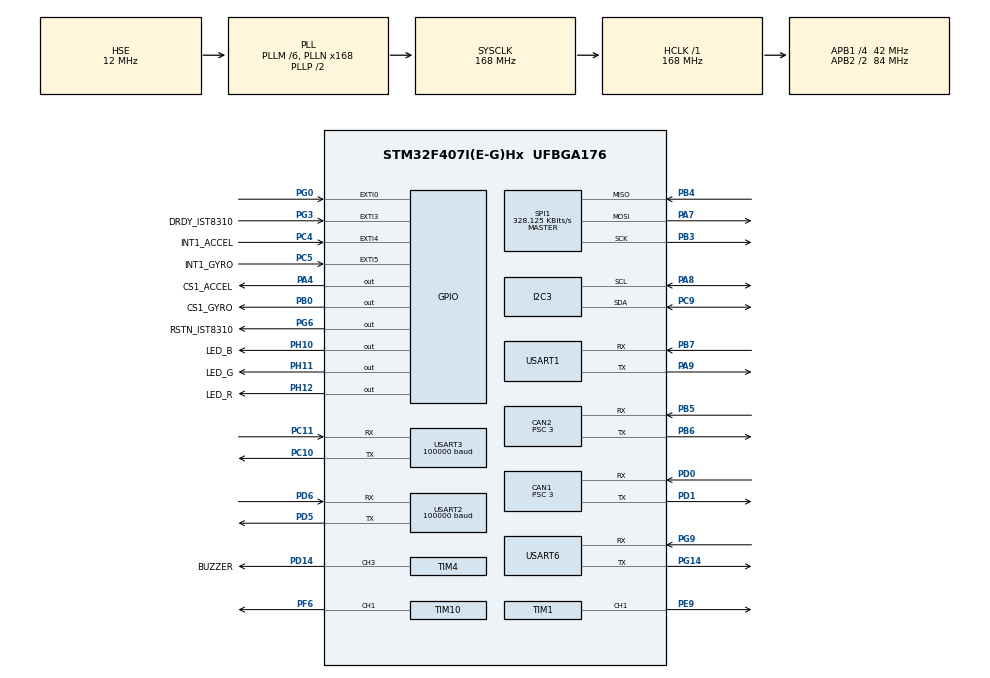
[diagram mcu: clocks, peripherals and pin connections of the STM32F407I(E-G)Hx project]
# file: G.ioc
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CAN1.BS1=CAN_BS1_10TQ
CAN1.BS2=CAN_BS2_3TQ
CAN1.CalculateBaudRate=1000000
CAN1.CalculateTimeBit=1000
CAN1.CalculateTimeQuantum=71.42857142857143
CAN1.Prescaler=3
CAN2.BS1=CAN_BS1_10TQ
CAN2.BS2=CAN_BS2_3TQ
CAN2.CalculateBaudRate=1000000
CAN2.CalculateTimeBit=1000
CAN2.CalculateTimeQuantum=71.42857142857143
CAN2.Prescaler=3
Dma.Request0=USART2_RX
Dma.Request1=USART2_TX
Dma.Request2=USART1_TX
Dma.Request3=SPI1_RX
Dma.Request4=SPI1_TX
Dma.Request5=USART3_RX
Dma.Request6=USART6_RX
Dma.SPI1_RX.3.Direction=DMA_PERIPH_TO_MEMORY
Dma.SPI1_RX.3.FIFOMode=DMA_FIFOMODE_DISABLE
Dma.SPI1_RX.3.Instance=DMA2_Stream2
Dma.SPI1_RX.3.MemDataAlignment=DMA_MDATAALIGN_BYTE
Dma.SPI1_RX.3.MemInc=DMA_MINC_ENABLE
Dma.SPI1_RX.3.Mode=DMA_NORMAL
Dma.SPI1_RX.3.PeriphDataAlignment=DMA_PDATAALIGN_BYTE
Dma.SPI1_RX.3.PeriphInc=DMA_PINC_DISABLE
Dma.SPI1_RX.3.Priority=DMA_PRIORITY_VERY_HIGH
Dma.SPI1_TX.4.Direction=DMA_MEMORY_TO_PERIPH
Dma.SPI1_TX.4.FIFOMode=DMA_FIFOMODE_DISABLE
Dma.SPI1_TX.4.Instance=DMA2_Stream3
Dma.SPI1_TX.4.MemDataAlignment=DMA_MDATAALIGN_BYTE
Dma.SPI1_TX.4.MemInc=DMA_MINC_ENABLE
Dma.SPI1_TX.4.Mode=DMA_NORMAL
Dma.SPI1_TX.4.PeriphDataAlignment=DMA_PDATAALIGN_BYTE
Dma.SPI1_TX.4.PeriphInc=DMA_PINC_DISABLE
Dma.SPI1_TX.4.Priority=DMA_PRIORITY_HIGH
Dma.USART1_TX.2.Direction=DMA_MEMORY_TO_PERIPH
Dma.USART1_TX.2.FIFOMode=DMA_FIFOMODE_DISABLE
Dma.USART1_TX.2.Instance=DMA2_Stream7
Dma.USART1_TX.2.MemDataAlignment=DMA_MDATAALIGN_BYTE
Dma.USART1_TX.2.MemInc=DMA_MINC_ENABLE
Dma.USART1_TX.2.Mode=DMA_NORMAL
Dma.USART1_TX.2.PeriphDataAlignment=DMA_PDATAALIGN_BYTE
Dma.USART1_TX.2.PeriphInc=DMA_PINC_DISABLE
Dma.USART1_TX.2.Priority=DMA_PRIORITY_LOW
Dma.USART2_RX.0.Direction=DMA_PERIPH_TO_MEMORY
Dma.USART2_RX.0.FIFOMode=DMA_FIFOMODE_DISABLE
Dma.USART2_RX.0.Instance=DMA1_Stream5
Dma.USART2_RX.0.MemDataAlignment=DMA_MDATAALIGN_BYTE
Dma.USART2_RX.0.MemInc=DMA_MINC_ENABLE
Dma.USART2_RX.0.Mode=DMA_NORMAL
Dma.USART2_RX.0.PeriphDataAlignment=DMA_PDATAALIGN_BYTE
Dma.USART2_RX.0.PeriphInc=DMA_PINC_DISABLE
Dma.USART2_RX.0.Priority=DMA_PRIORITY_LOW
Dma.USART2_TX.1.Direction=DMA_MEMORY_TO_PERIPH
Dma.USART2_TX.1.FIFOMode=DMA_FIFOMODE_DISABLE
Dma.USART2_TX.1.Instance=DMA1_Stream6
Dma.USART2_TX.1.MemDataAlignment=DMA_MDATAALIGN_BYTE
Dma.USART2_TX.1.MemInc=DMA_MINC_ENABLE
Dma.USART2_TX.1.Mode=DMA_NORMAL
Dma.USART2_TX.1.PeriphDataAlignment=DMA_PDATAALIGN_BYTE
Dma.USART2_TX.1.PeriphInc=DMA_PINC_DISABLE
Dma.USART2_TX.1.Priority=DMA_PRIORITY_LOW
Dma.USART3_RX.5.Direction=DMA_PERIPH_TO_MEMORY
Dma.USART3_RX.5.FIFOMode=DMA_FIFOMODE_DISABLE
Dma.USART3_RX.5.Instance=DMA1_Stream1
Dma.USART3_RX.5.MemDataAlignment=DMA_MDATAALIGN_BYTE
Dma.USART3_RX.5.MemInc=DMA_MINC_ENABLE
Dma.USART3_RX.5.Mode=DMA_NORMAL
Dma.USART3_RX.5.PeriphDataAlignment=DMA_PDATAALIGN_BYTE
Dma.USART3_RX.5.PeriphInc=DMA_PINC_DISABLE
Dma.USART3_RX.5.Priority=DMA_PRIORITY_LOW
Dma.USART6_RX.6.Direction=DMA_PERIPH_TO_MEMORY
Dma.USART6_RX.6.FIFOMode=DMA_FIFOMODE_DISABLE
Dma.USART6_RX.6.Instance=DMA2_Stream1
Dma.USART6_RX.6.MemDataAlignment=DMA_MDATAALIGN_BYTE
Dma.USART6_RX.6.MemInc=DMA_MINC_ENABLE
Dma.USART6_RX.6.Mode=DMA_NORMAL
Dma.USART6_RX.6.PeriphDataAlignment=DMA_PDATAALIGN_BYTE
Dma.USART6_RX.6.PeriphInc=DMA_PINC_DISABLE
Dma.USART6_RX.6.Priority=DMA_PRIORITY_HIGH
FREERTOS.INCLUDE_eTaskGetState=1
FREERTOS.INCLUDE_pcTaskGetTaskName=1
FREERTOS.INCLUDE_uxTaskGetStackHighWaterMark=1
FREERTOS.INCLUDE_uxTaskGetStackHighWaterMark2=1
FREERTOS.INCLUDE_vTaskCleanUpResources=1
FREERTOS.INCLUDE_vTaskDelayUntil=1
FREERTOS.INCLUDE_xEventGroupSetBitFromISR=1
FREERTOS.INCLUDE_xQueueGetMutexHolder=1
FREERTOS.INCLUDE_xSemaphoreGetMutexHolder=1
FREERTOS.INCLUDE_xTaskAbortDelay=1
FREERTOS.INCLUDE_xTaskGetCurrentTaskHandle=1
FREERTOS.INCLUDE_xTaskGetHandle=1
FREERTOS.INCLUDE_xTimerPendFunctionCall=1
FREERTOS.Tasks01=Task_Chassis,0,1024,Start_Task_Chassis,Default,NULL,Dynamic,NULL,NULL;Task_Gimbal,-3,1024,Start_Task_Gimbal,Default,NULL,Dynamic,NULL,NULL;Task_Debug,-3,512,Start_Task_Debug,Default,NULL,Dynamic,NULL,NULL;Task_AHRS,-3,1024,Start_Task_AHRS,Default,NULL,Dynamic,NULL,NULL;Task_IWDG,-3,256,Start_Task_IWDG,Default,NULL,Dynamic,NULL,NULL;myTask06,-3,128,StartTask06,Default,NULL,Dynamic,NULL,NULL;Task_Ammo_Shoot,-3,512,Start_Task_Ammo_Shoot,Default,NULL,Dynamic,NULL,NULL;Task_Ammo_Fire,-3,512,Start_Task_Ammo_Fire,Default,NULL,Dynamic,NULL,NULL;Task_Mini_PC,-3,256,Start_Task__Mini_PC,Default,NULL,Dynamic,NULL,NULL
FREERTOS.configTOTAL_HEAP_SIZE=24576
FREERTOS.configUSE_TIMERS=1
I2C3.I2C_Mode=I2C_Fast
Mcu.Family=STM32F4
Mcu.Name=STM32F407I(E-G)Hx
Mcu.Package=UFBGA176
NVIC.CAN1_RX0_IRQn=true\:5\:0\:false\:false\:true\:true\:true\:true\:true
NVIC.CAN2_RX0_IRQn=true\:5\:0\:false\:false\:true\:true\:true\:true\:true
NVIC.DMA1_Stream1_IRQn=true\:5\:0\:false\:false\:true\:true\:false\:true\:true
NVIC.DMA1_Stream5_IRQn=true\:5\:0\:false\:false\:true\:true\:false\:true\:true
NVIC.DMA1_Stream6_IRQn=true\:5\:0\:false\:false\:true\:true\:false\:true\:true
NVIC.DMA2_Stream1_IRQn=true\:5\:0\:false\:false\:true\:true\:false\:true\:true
NVIC.DMA2_Stream2_IRQn=true\:5\:0\:false\:false\:false\:true\:false\:true\:true
NVIC.DMA2_Stream3_IRQn=true\:5\:0\:false\:false\:true\:true\:false\:true\:true
NVIC.DMA2_Stream7_IRQn=true\:5\:0\:false\:false\:true\:true\:false\:true\:true
NVIC.EXTI0_IRQn=true\:5\:0\:false\:false\:true\:true\:true\:true\:true
NVIC.EXTI3_IRQn=true\:5\:0\:false\:false\:true\:true\:true\:true\:true
NVIC.EXTI4_IRQn=true\:5\:0\:false\:false\:true\:true\:true\:true\:true
NVIC.EXTI9_5_IRQn=true\:5\:0\:false\:false\:true\:true\:true\:true\:true
NVIC.PriorityGroup=NVIC_PRIORITYGROUP_4
NVIC.USART2_IRQn=true\:5\:0\:false\:false\:true\:true\:true\:true\:true
NVIC.USART3_IRQn=true\:5\:0\:false\:false\:false\:true\:true\:true\:true
NVIC.USART6_IRQn=true\:5\:0\:false\:false\:true\:true\:true\:true\:true
PA13.Mode=Serial_Wire
PA13.Signal=SYS_JTMS-SWDIO
PA14.Mode=Serial_Wire
PA14.Signal=SYS_JTCK-SWCLK
PA4.GPIO_Label=CS1_ACCEL
PA4.GPIO_PuPd=GPIO_PULLUP
PA4.GPIO_Speed=GPIO_SPEED_FREQ_HIGH
PA4.PinState=GPIO_PIN_SET
PA4.Signal=GPIO_Output
PA7.Mode=Full_Duplex_Master
PA7.Signal=SPI1_MOSI
PA8.Mode=I2C
PA8.Signal=I2C3_SCL
PA9.Mode=Asynchronous
PA9.Signal=USART1_TX
PB0.GPIO_Label=CS1_GYRO
PB0.GPIO_PuPd=GPIO_PULLUP
PB0.GPIO_Speed=GPIO_SPEED_FREQ_HIGH
PB0.PinState=GPIO_PIN_SET
PB0.Signal=GPIO_Output
PB3.Mode=Full_Duplex_Master
PB3.Signal=SPI1_SCK
PB4.Mode=Full_Duplex_Master
PB4.Signal=SPI1_MISO
PB5.Mode=CAN_Activate
PB5.Signal=CAN2_RX
PB6.Mode=CAN_Activate
PB6.Signal=CAN2_TX
PB7.Mode=Asynchronous
PB7.Signal=USART1_RX
PC10.Mode=Asynchronous
PC10.Signal=USART3_TX
PC11.Mode=Asynchronous
PC11.Signal=USART3_RX
PC4.GPIO_Label=INT1_ACCEL
PC4.GPIO_PuPd=GPIO_PULLUP
PC4.Signal=GPXTI4
PC5.GPIO_Label=INT1_GYRO
PC5.GPIO_PuPd=GPIO_PULLUP
PC5.Signal=GPXTI5
PC9.Mode=I2C
PC9.Signal=I2C3_SDA
PD0.Mode=CAN_Activate
PD0.Signal=CAN1_RX
PD1.Mode=CAN_Activate
PD1.Signal=CAN1_TX
PD14.GPIO_Label=BUZZER
PD14.GPIO_PuPd=GPIO_PULLUP
PD14.GPIO_Speed=GPIO_SPEED_FREQ_VERY_HIGH
PD14.Signal=S_TIM4_CH3
PD5.Mode=Asynchronous
PD5.Signal=USART2_TX
PD6.Mode=Asynchronous
PD6.Signal=USART2_RX
PE9.Signal=S_TIM1_CH1
PF6.GPIO_PuPd=GPIO_PULLUP
PF6.GPIO_Speed=GPIO_SPEED_FREQ_HIGH
PF6.Signal=S_TIM10_CH1
PG0.GPIO_PuPd=GPIO_PULLUP
PG0.Signal=GPXTI0
PG14.Mode=Asynchronous
PG14.Signal=USART6_TX
PG3.GPIO_Label=DRDY_IST8310
PG3.GPIO_PuPd=GPIO_PULLUP
PG3.Signal=GPXTI3
PG6.GPIO_Label=RSTN_IST8310
PG6.GPIO_PuPd=GPIO_PULLUP
PG6.GPIO_Speed=GPIO_SPEED_FREQ_MEDIUM
PG6.PinState=GPIO_PIN_SET
PG6.Signal=GPIO_Output
PG9.Mode=Asynchronous
PG9.Signal=USART6_RX
PH0-OSC_IN.Mode=HSE-External-Oscillator
PH0-OSC_IN.Signal=RCC_OSC_IN
PH1-OSC_OUT.Mode=HSE-External-Oscillator
PH1-OSC_OUT.Signal=RCC_OSC_OUT
PH10.GPIO_Label=LED_B
PH10.GPIO_PuPd=GPIO_PULLUP
PH10.PinState=GPIO_PIN_SET
PH10.Signal=GPIO_Output
PH11.GPIO_Label=LED_G
PH11.GPIO_PuPd=GPIO_PULLUP
PH11.PinState=GPIO_PIN_SET
PH11.Signal=GPIO_Output
PH12.GPIO_Label=LED_R
PH12.GPIO_PuPd=GPIO_PULLUP
PH12.PinState=GPIO_PIN_SET
PH12.Signal=GPIO_Output
ProjectManager.HeapSize=0x200
ProjectManager.StackSize=0x400
ProjectManager.TargetToolchain=MDK-ARM V5.32
RCC.48MHZClocksFreq_Value=48000000
RCC.AHBFreq_Value=168000000
RCC.APB1CLKDivider=RCC_HCLK_DIV4
RCC.APB1Freq_Value=42000000
RCC.APB1TimFreq_Value=84000000
RCC.APB2CLKDivider=RCC_HCLK_DIV2
RCC.APB2Freq_Value=84000000
RCC.APB2TimFreq_Value=168000000
RCC.CortexFreq_Value=168000000
RCC.HCLKFreq_Value=168000000
RCC.HSE_VALUE=12000000
RCC.HSI_VALUE=16000000
RCC.LSE_VALUE=32768
RCC.PLLM=6
RCC.PLLN=168
RCC.PLLQ=7
RCC.PLLSourceVirtual=RCC_PLLSOURCE_HSE
RCC.SYSCLKFreq_VALUE=168000000
RCC.SYSCLKSource=RCC_SYSCLKSOURCE_PLLCLK
RCC.VCOOutputFreq_Value=336000000
SH.S_TIM10_CH1.0=TIM10_CH1,PWM Generation1 CH1
SH.S_TIM1_CH1.0=TIM1_CH1,PWM Generation1 CH1
SH.S_TIM4_CH3.0=TIM4_CH3,PWM Generation3 CH3
SPI1.BaudRatePrescaler=SPI_BAUDRATEPRESCALER_256
SPI1.CLKPhase=SPI_PHASE_2EDGE
SPI1.CLKPolarity=SPI_POLARITY_HIGH
SPI1.CalculateBaudRate=328.125 KBits/s
SPI1.Direction=SPI_DIRECTION_2LINES
SPI1.Mode=SPI_MODE_MASTER
SPI1.VirtualType=VM_MASTER
TIM1.Channel-PWM\ Generation1\ CH1=TIM_CHANNEL_1
TIM1.Period=20000-1
TIM1.Prescaler=168-1
TIM1.Pulse-PWM\ Generation1\ CH1=1350
TIM10.Channel=TIM_CHANNEL_1
TIM10.Period=4999
TIM4.Channel-PWM\ Generation3\ CH3=TIM_CHANNEL_3
TIM4.Prescaler=167
USART1.VirtualMode=VM_ASYNC
USART2.BaudRate=100000
USART2.Parity=PARITY_NONE
USART2.VirtualMode=VM_ASYNC
USART3.BaudRate=100000
USART3.VirtualMode=VM_ASYNC
USART6.VirtualMode=VM_ASYNC
VP_FREERTOS_VS_CMSIS_V1.Mode=CMSIS_V1
VP_RNG_VS_RNG.Mode=RNG_Activate
VP_TIM10_VS_ClockSourceINT.Mode=Enable_Timer
board=custom

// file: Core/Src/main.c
/* USER CODE BEGIN Header */
/**
  ******************************************************************************
  * @file           : main.c
  * @brief          : Main program body
  ******************************************************************************
  * @attention
  *
  * <h2><center>&copy; Copyright (c) 2022 STMicroelectronics.
  * All rights reserved.</center></h2>
  *
  * This software component is licensed by ST under Ultimate Liberty license
  * SLA0044, the "License"; You may not use this file except in compliance with
  * the License. You may obtain a copy of the License at:
  *                             www.st.com/SLA0044
  *
  ******************************************************************************
  */
/* USER CODE END Header */
#include "main.h"
#include "cmsis_os.h"
#include "can.h"
#include "dma.h"
#include "i2c.h"
#include "rng.h"
#include "spi.h"
#include "tim.h"
#include "usart.h"
#include "gpio.h"

/* USER CODE BEGIN Includes */
#include "User_Dbus.h"
#include "User_Can.h"
#include "User_Time.h"
#include "User_Delay.h"
#include "User_Dbus_Control.h"

#include "AHRS_Task.h"
#include "Calibrate_Task.h"
#include "PC_Link.h"
/* USER CODE END Includes */

void SystemClock_Config(void);
void MX_FREERTOS_Init(void);

int main(void)
{
  /* USER CODE BEGIN 1 */

//	usart_printf("1\r\n");
  /* USER CODE END 1 */

  /* MCU Configuration--------------------------------------------------------*/

  /* Reset of all peripherals, Initializes the Flash interface and the Systick. */
  HAL_Init();

  /* Configure the system clock */
  SystemClock_Config();

  /* Initialize all configured peripherals */
  MX_GPIO_Init();
  MX_DMA_Init();
  MX_CAN1_Init();
  MX_CAN2_Init();
  MX_USART2_UART_Init();
  MX_TIM1_Init();
  MX_TIM4_Init();
  MX_TIM10_Init();
  MX_USART1_UART_Init();
  MX_SPI1_Init();
  MX_I2C3_Init();
  MX_USART3_UART_Init();
  MX_USART6_UART_Init();
  MX_RNG_Init();
  /* USER CODE BEGIN 2 */
  All_Time_Init();
	Delay_Init();
	Remote_Control_Init();
	CAN_Filter_Init();
	Dbus_Control_Init();
	PC_Link_Init();
  /* USER CODE END 2 */

  /* Call init function for freertos objects (in freertos.c) */
  MX_FREERTOS_Init();

  /* Start scheduler */
  osKernelStart();

  /* We should never get here as control is now taken by the scheduler */
  /* Infinite loop */
  while (1)
  {

  }
}

void SystemClock_Config(void)
{
  RCC_OscInitTypeDef RCC_OscInitStruct = {0};
  RCC_ClkInitTypeDef RCC_ClkInitStruct = {0};

  /** Configure the main internal regulator output voltage
  */
  __HAL_RCC_PWR_CLK_ENABLE();
  __HAL_PWR_VOLTAGESCALING_CONFIG(PWR_REGULATOR_VOLTAGE_SCALE1);

  /** Initializes the RCC Oscillators according to the specified parameters
  * in the RCC_OscInitTypeDef structure.
  */
  RCC_OscInitStruct.OscillatorType = RCC_OSCILLATORTYPE_HSE;
  RCC_OscInitStruct.HSEState = RCC_HSE_ON;
  RCC_OscInitStruct.PLL.PLLState = RCC_PLL_ON;
  RCC_OscInitStruct.PLL.PLLSource = RCC_PLLSOURCE_HSE;
  RCC_OscInitStruct.PLL.PLLM = 6;
  RCC_OscInitStruct.PLL.PLLN = 168;
  RCC_OscInitStruct.PLL.PLLP = RCC_PLLP_DIV2;
  RCC_OscInitStruct.PLL.PLLQ = 7;
  if (HAL_RCC_OscConfig(&RCC_OscInitStruct) != HAL_OK)
  {
    Error_Handler();
  }

  /** Initializes the CPU, AHB and APB buses clocks
  */
  RCC_ClkInitStruct.ClockType = RCC_CLOCKTYPE_HCLK|RCC_CLOCKTYPE_SYSCLK
                              |RCC_CLOCKTYPE_PCLK1|RCC_CLOCKTYPE_PCLK2;
  RCC_ClkInitStruct.SYSCLKSource = RCC_SYSCLKSOURCE_PLLCLK;
  RCC_ClkInitStruct.AHBCLKDivider = RCC_SYSCLK_DIV1;
  RCC_ClkInitStruct.APB1CLKDivider = RCC_HCLK_DIV4;
  RCC_ClkInitStruct.APB2CLKDivider = RCC_HCLK_DIV2;

  if (HAL_RCC_ClockConfig(&RCC_ClkInitStruct, FLASH_LATENCY_5) != HAL_OK)
  {
    Error_Handler();
  }
}

void Error_Handler(void)
{
  __disable_irq();
  while (1)
  {
  }
}

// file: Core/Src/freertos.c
/* USER CODE BEGIN Header */
/**
  ******************************************************************************
  * File Name          : freertos.c
  * Description        : Code for freertos applications
  ******************************************************************************
  * @attention
  *
  * <h2><center>&copy; Copyright (c) 2022 STMicroelectronics.
  * All rights reserved.</center></h2>
  *
  * This software component is licensed by ST under Ultimate Liberty license
  * SLA0044, the "License"; You may not use this file except in compliance with
  * the License. You may obtain a copy of the License at:
  *                             www.st.com/SLA0044
  *
  ******************************************************************************
  */
/* USER CODE END Header */

#include "FreeRTOS.h"
#include "task.h"
#include "main.h"
#include "cmsis_os.h"

/* USER CODE BEGIN Includes */
#include "rng.h"

#include "AHRS_Task.h"
#include "Calibrate_Task.h"

#include "User_Debug.h"
#include "User_Dbus.h"
#include "User_led.h"
#include "Gimbal.h"
#include "Chassis.h"

#include "PC_Link.h"

#include "Shoot.h"
#include "Fire.h"
//#include "Chassis.h"

/* USER CODE END Includes */

osThreadId Task_ChassisHandle;
osThreadId Task_GimbalHandle;
osThreadId Task_DebugHandle;
osThreadId Task_AHRSHandle;
osThreadId Task_IWDGHandle;
osThreadId myTask06Handle;
osThreadId Task_Ammo_ShootHandle;
osThreadId Task_Ammo_FireHandle;
osThreadId Task_Mini_PCHandle;

void Start_Task_Chassis(void const * argument);
void Start_Task_Gimbal(void const * argument);
void Start_Task_Debug(void const * argument);
void Start_Task_AHRS(void const * argument);
void Start_Task_IWDG(void const * argument);
void StartTask06(void const * argument);
void Start_Task_Ammo_Shoot(void const * argument);
void Start_Task_Ammo_Fire(void const * argument);
void Start_Task__Mini_PC(void const * argument);

void MX_FREERTOS_Init(void); /* (MISRA C 2004 rule 8.1) */

/* GetIdleTaskMemory prototype (linked to static allocation support) */
void vApplicationGetIdleTaskMemory( StaticTask_t **ppxIdleTaskTCBBuffer, StackType_t **ppxIdleTaskStackBuffer, uint32_t *pulIdleTaskStackSize );

/* GetTimerTaskMemory prototype (linked to static allocation support) */
void vApplicationGetTimerTaskMemory( StaticTask_t **ppxTimerTaskTCBBuffer, StackType_t **ppxTimerTaskStackBuffer, uint32_t *pulTimerTaskStackSize );

/* USER CODE BEGIN GET_IDLE_TASK_MEMORY */
static StaticTask_t xIdleTaskTCBBuffer;
static StackType_t xIdleStack[configMINIMAL_STACK_SIZE];

void vApplicationGetIdleTaskMemory( StaticTask_t **ppxIdleTaskTCBBuffer, StackType_t **ppxIdleTaskStackBuffer, uint32_t *pulIdleTaskStackSize )
{
  *ppxIdleTaskTCBBuffer = &xIdleTaskTCBBuffer;
  *ppxIdleTaskStackBuffer = &xIdleStack[0];
  *pulIdleTaskStackSize = configMINIMAL_STACK_SIZE;
  /* place for user code */
}
/* USER CODE END GET_IDLE_TASK_MEMORY */

/* USER CODE BEGIN GET_TIMER_TASK_MEMORY */
static StaticTask_t xTimerTaskTCBBuffer;
static StackType_t xTimerStack[configTIMER_TASK_STACK_DEPTH];

void vApplicationGetTimerTaskMemory( StaticTask_t **ppxTimerTaskTCBBuffer, StackType_t **ppxTimerTaskStackBuffer, uint32_t *pulTimerTaskStackSize )
{
  *ppxTimerTaskTCBBuffer = &xTimerTaskTCBBuffer;
  *ppxTimerTaskStackBuffer = &xTimerStack[0];
  *pulTimerTaskStackSize = configTIMER_TASK_STACK_DEPTH;
  /* place for user code */
}
/* USER CODE END GET_TIMER_TASK_MEMORY */

void MX_FREERTOS_Init(void) {

  /* Create the thread(s) */
  /* definition and creation of Task_Chassis */
  osThreadDef(Task_Chassis, Start_Task_Chassis, osPriorityNormal, 0, 1024);
  Task_ChassisHandle = osThreadCreate(osThread(Task_Chassis), NULL);

  /* definition and creation of Task_Gimbal */
  osThreadDef(Task_Gimbal, Start_Task_Gimbal, osPriorityIdle, 0, 1024);
  Task_GimbalHandle = osThreadCreate(osThread(Task_Gimbal), NULL);

  /* definition and creation of Task_Debug */
  osThreadDef(Task_Debug, Start_Task_Debug, osPriorityIdle, 0, 512);
  Task_DebugHandle = osThreadCreate(osThread(Task_Debug), NULL);

  /* definition and creation of Task_AHRS */
  osThreadDef(Task_AHRS, Start_Task_AHRS, osPriorityIdle, 0, 1024);
  Task_AHRSHandle = osThreadCreate(osThread(Task_AHRS), NULL);

  /* definition and creation of Task_IWDG */
  osThreadDef(Task_IWDG, Start_Task_IWDG, osPriorityIdle, 0, 256);
  Task_IWDGHandle = osThreadCreate(osThread(Task_IWDG), NULL);

  /* definition and creation of myTask06 */
  osThreadDef(myTask06, StartTask06, osPriorityIdle, 0, 128);
  myTask06Handle = osThreadCreate(osThread(myTask06), NULL);

  /* definition and creation of Task_Ammo_Shoot */
  osThreadDef(Task_Ammo_Shoot, Start_Task_Ammo_Shoot, osPriorityIdle, 0, 512);
  Task_Ammo_ShootHandle = osThreadCreate(osThread(Task_Ammo_Shoot), NULL);

  /* definition and creation of Task_Ammo_Fire */
  osThreadDef(Task_Ammo_Fire, Start_Task_Ammo_Fire, osPriorityIdle, 0, 512);
  Task_Ammo_FireHandle = osThreadCreate(osThread(Task_Ammo_Fire), NULL);

  /* definition and creation of Task_Mini_PC */
  osThreadDef(Task_Mini_PC, Start_Task__Mini_PC, osPriorityIdle, 0, 256);
  Task_Mini_PCHandle = osThreadCreate(osThread(Task_Mini_PC), NULL);

}

void Start_Task_Chassis(void const * argument)
{
  /* USER CODE BEGIN Start_Task_Chassis */
  /* Infinite loop */
	Chassis_Init();
  for(;;)
  {
    Chassis_Control();
		Tx_Gimbal_To_Chassis(0x221);//发送底盘电机数据给底盘主控
    osDelay(2);
  }
  /* USER CODE END Start_Task_Chassis */
}

void Start_Task_Gimbal(void const * argument)
{
  /* USER CODE BEGIN Start_Task_Gimbal */
  /* Infinite loop */
	Gimbal_Init();
  for(;;)
  {
    Gimbal_Control();
    osDelay(2);
  }
  /* USER CODE END Start_Task_Gimbal */
}

void Start_Task_Debug(void const * argument)
{
  /* USER CODE BEGIN Start_Task_Debug */
  /* Infinite loop */
  for(;;)
  {
		Debug_Usart();
    osDelay(20);
		//usart_printf("3\r\n");
  }
  /* USER CODE END Start_Task_Debug */
}

void Start_Task_AHRS(void const * argument)
{
  /* USER CODE BEGIN Start_Task_AHRS */
  /* Infinite loop */
//	usart_printf("3\r\n");
	AHRS_Init();
	Cali_Param_Init();
  for(;;)
  {

		AHRS_Read();//陀螺仪
		Calibrate_AHRS();//陀螺仪校准
    osDelay(1);
  }
  /* USER CODE END Start_Task_AHRS */
}

void Start_Task_IWDG(void const * argument)
{
  /* USER CODE BEGIN Start_Task_IWDG */
  /* Infinite loop */
  for(;;)
  {
//		usart_printf("3\r\n");
		Wdog_Remote();
		Led_RGB_Flow();
    osDelay(1);
  }
  /* USER CODE END Start_Task_IWDG */
}

void StartTask06(void const * argument)
{
  /* USER CODE BEGIN StartTask06 */
  /* Infinite loop */
	usart_printf("2\r\n");
  for(;;)
  {

    osDelay(1);
  }
  /* USER CODE END StartTask06 */
}

void Start_Task_Ammo_Shoot(void const * argument)
{
  /* USER CODE BEGIN Start_Task_Ammo_Shoot */
  /* Infinite loop */
	Shoot_Init();
  for(;;)
  {
    Shoot_Control();
    osDelay(2);
  }
  /* USER CODE END Start_Task_Ammo_Shoot */
}

void Start_Task_Ammo_Fire(void const * argument)
{
  /* USER CODE BEGIN Start_Task_Ammo_Fire */
  /* Infinite loop */
	Fire_Init();
  for(;;)
  {
		Fire_Control();
    osDelay(1);
  }
  /* USER CODE END Start_Task_Ammo_Fire */
}

void Start_Task__Mini_PC(void const * argument)
{
  /* USER CODE BEGIN Start_Task__Mini_PC */
  /* Infinite loop */
  for(;;)
  {
		Send_Robot_Id(001);// R  0x003 B //给pc发机器人id     001、002...蓝方, 101、102...红方
//    Send_Robot_Id(Judge_User.Robot_ID);//0x103 R  0x003 B //给pc发机器人id
		Send_Robot_Data(Judge_User.Shooter_ID1_17mm_Speed_Limit,0,0,0,0,0,0);//给pc发射速上限
		RNG_Number = HAL_RNG_GetRandomNumber(&hrng) & 0x02;//max 2
    osDelay(500);
  }
  /* USER CODE END Start_Task__Mini_PC */
}
